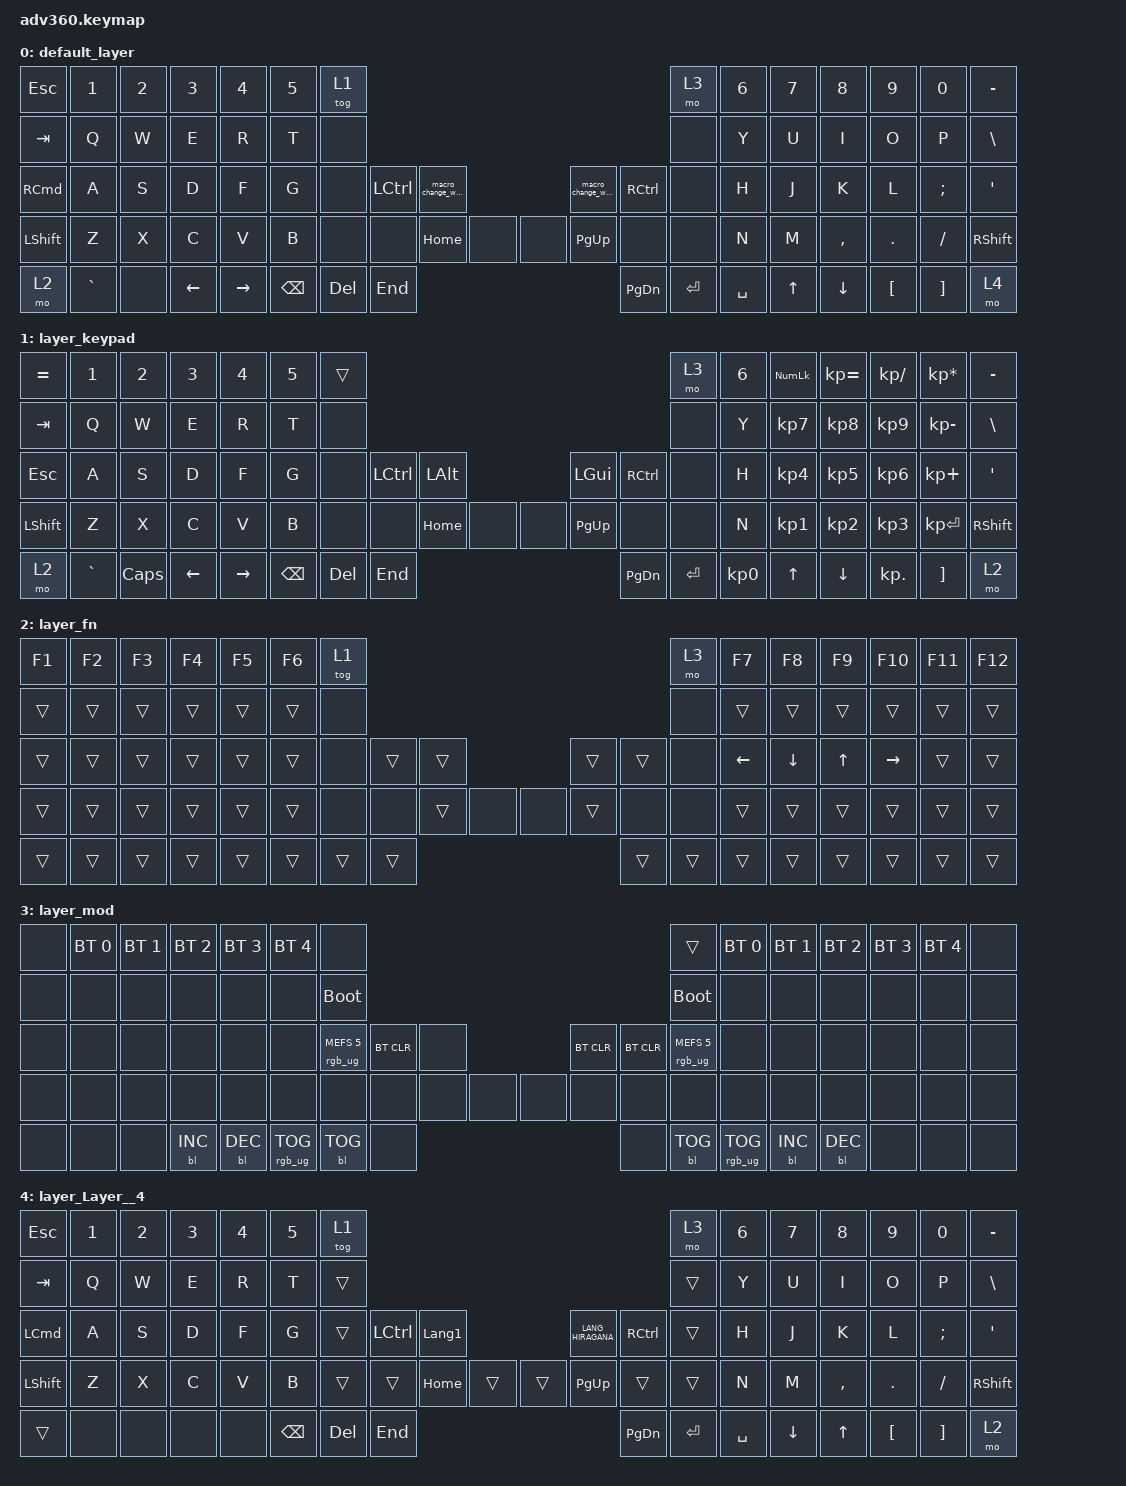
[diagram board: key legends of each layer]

/*
 * Copyright (c) 2020 The ZMK Contributors
 *
 * SPDX-License-Identifier: MIT
 */


/* THIS FILE WAS GENERATED!
 *
 * This file was generated automatically. You may or may not want to
 * edit it directly.
 */

#include <behaviors.dtsi>
#include <dt-bindings/zmk/keys.h>
#include <dt-bindings/zmk/bt.h>
#include <dt-bindings/zmk/rgb.h>
#include <dt-bindings/zmk/backlight.h>

/ {
  behaviors {
    #include "macros.dtsi"

    hm: homerow_mods {
        compatible = "zmk,behavior-hold-tap";
        label = "HOMEROW_MODS";
        #binding-cells = <2>;
        tapping-term-ms = <200>;
        quick_tap_ms = <175>;
        flavor = "tap-preferred";
        bindings = <&kp>, <&kp>;
    };
  };

    keymap {
        compatible = "zmk,keymap";


        default_layer {
            bindings = <
           &kp ESC     &kp N1  &kp N2    &kp N3     &kp N4  &kp N5              &tog 1                                                                                    &mo 3  &kp N6  &kp N7     &kp N8    &kp N9    &kp N0  &kp MINUS
           &kp TAB      &kp Q   &kp W     &kp E      &kp R   &kp T               &none                                                                                    &none   &kp Y   &kp U      &kp I     &kp O     &kp P   &kp BSLH
 &kp RIGHT_COMMAND      &kp A   &kp S     &kp D      &kp F   &kp G               &none  &kp LCTRL  &macro_change_word                  &macro_change_word  &kp RCTRL      &none   &kp H   &kp J      &kp K     &kp L  &kp SEMI    &kp SQT
         &kp LSHFT      &kp Z   &kp X     &kp C      &kp V   &kp B               &none      &none            &kp HOME   &none   &none           &kp PG_UP      &none      &none   &kp N   &kp M  &kp COMMA   &kp DOT  &kp FSLH  &kp RSHFT
             &mo 2  &kp GRAVE   &none  &kp LEFT  &kp RIGHT                    &kp BSPC    &kp DEL             &kp END                           &kp PG_DN  &kp ENTER  &kp SPACE          &kp UP   &kp DOWN  &kp LBKT  &kp RBKT      &mo 4
            >;
        };

        layer_keypad {
            bindings = <
 &kp EQUAL     &kp N1    &kp N2    &kp N3     &kp N4  &kp N5              &trans                                                                 &mo 3  &kp N6  &kp KP_NUM  &kp KP_EQUAL  &kp KP_DIVIDE  &kp KP_MULTIPLY  &kp MINUS
   &kp TAB      &kp Q     &kp W     &kp E      &kp R   &kp T               &none                                                                 &none   &kp Y   &kp KP_N7     &kp KP_N8      &kp KP_N9     &kp KP_MINUS   &kp BSLH
   &kp ESC      &kp A     &kp S     &kp D      &kp F   &kp G               &none  &kp LCTRL  &kp LALT                   &kp LGUI  &kp RCTRL      &none   &kp H   &kp KP_N4     &kp KP_N5      &kp KP_N6      &kp KP_PLUS    &kp SQT
 &kp LSHFT      &kp Z     &kp X     &kp C      &kp V   &kp B               &none      &none  &kp HOME   &none   &none  &kp PG_UP      &none      &none   &kp N   &kp KP_N1     &kp KP_N2      &kp KP_N3     &kp KP_ENTER  &kp RSHFT
     &mo 2  &kp GRAVE  &kp CAPS  &kp LEFT  &kp RIGHT                    &kp BSPC    &kp DEL   &kp END                  &kp PG_DN  &kp ENTER  &kp KP_N0              &kp UP      &kp DOWN     &kp KP_DOT         &kp RBKT      &mo 2
            >;
        };

        layer_fn {
            bindings = <
 &kp F1  &kp F2  &kp F3  &kp F4  &kp F5  &kp F6            &tog 1                                                   &mo 3          &kp F7          &kp F8        &kp F9          &kp F10  &kp F11  &kp F12
 &trans  &trans  &trans  &trans  &trans  &trans             &none                                                   &none          &trans          &trans        &trans           &trans   &trans   &trans
 &trans  &trans  &trans  &trans  &trans  &trans             &none  &trans  &trans                  &trans  &trans   &none  &kp LEFT_ARROW  &kp DOWN_ARROW  &kp UP_ARROW  &kp RIGHT_ARROW   &trans   &trans
 &trans  &trans  &trans  &trans  &trans  &trans             &none   &none  &trans   &none   &none  &trans   &none   &none          &trans          &trans        &trans           &trans   &trans   &trans
 &trans  &trans  &trans  &trans  &trans                    &trans  &trans  &trans                  &trans  &trans  &trans                          &trans        &trans           &trans   &trans   &trans
            >;
        };

        layer_mod {
            bindings = <
  &none  &bt BT_SEL 0  &bt BT_SEL 1  &bt BT_SEL 2  &bt BT_SEL 3  &bt BT_SEL 4                             &none                                                                              &trans  &bt BT_SEL 0  &bt BT_SEL 1  &bt BT_SEL 2  &bt BT_SEL 3  &bt BT_SEL 4   &none
  &none         &none         &none         &none         &none         &none                       &bootloader                                                                         &bootloader         &none         &none         &none         &none         &none   &none
  &none         &none         &none         &none         &none         &none            &rgb_ug RGB_MEFS_CMD 5  &bt BT_CLR   &none                  &bt BT_CLR  &bt BT_CLR  &rgb_ug RGB_MEFS_CMD 5         &none         &none         &none         &none         &none   &none
  &none         &none         &none         &none         &none         &none                             &none       &none   &none   &none   &none       &none       &none                   &none         &none         &none         &none         &none         &none   &none
  &none         &none         &none    &bl BL_INC    &bl BL_DEC                                 &rgb_ug RGB_TOG  &bl BL_TOG   &none                       &none  &bl BL_TOG         &rgb_ug RGB_TOG                  &bl BL_INC    &bl BL_DEC         &none         &none   &none
            >;
        };

        layer_Layer__4 {
            bindings = <
          &kp ESC  &kp NUMBER_1  &kp NUMBER_2  &kp NUMBER_3  &kp NUMBER_4  &kp NUMBER_5                   &tog 1                                                                                        &mo 3  &kp NUMBER_6    &kp NUMBER_7  &kp NUMBER_8  &kp NUMBER_9    &kp N0  &kp MINUS
          &kp TAB         &kp Q         &kp W         &kp E         &kp R         &kp T                   &trans                                                                                       &trans         &kp Y           &kp U         &kp I         &kp O     &kp P   &kp BSLH
 &kp LEFT_COMMAND         &kp A         &kp S         &kp D         &kp F         &kp G                   &trans   &kp LCTRL  &kp LANGUAGE_1                  &kp LANG_HIRAGANA  &kp RIGHT_CONTROL     &trans         &kp H           &kp J         &kp K         &kp L  &kp SEMI    &kp SQT
   &kp LEFT_SHIFT         &kp Z         &kp X         &kp C         &kp V         &kp B                   &trans      &trans        &kp HOME  &trans  &trans        &kp PAGE_UP             &trans     &trans         &kp N           &kp M     &kp COMMA       &kp DOT  &kp FSLH  &kp RSHFT
           &trans         &none         &none         &none         &none                          &kp BACKSPACE  &kp DELETE         &kp END                      &kp PAGE_DOWN          &kp ENTER  &kp SPACE                &kp DOWN_ARROW  &kp UP_ARROW      &kp LBKT  &kp RBKT      &mo 2
            >;
        };

    };
};
